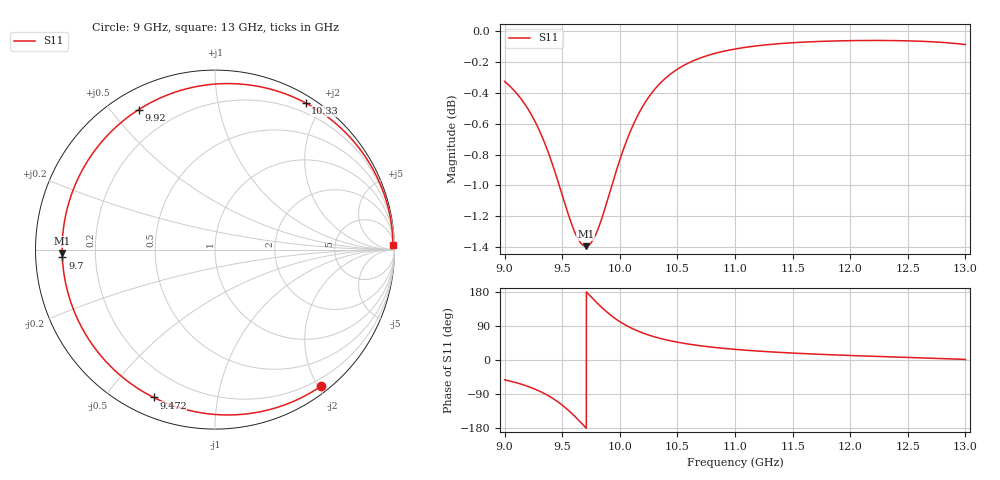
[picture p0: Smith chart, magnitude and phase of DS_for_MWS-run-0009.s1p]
! TOUCHSTONE file generated by CST DESIGN STUDIO
! Date and time: Tue Feb  4 16:05:19 2025
! Project name: C:\Work\MatlabApps\UnitCellOptimizationMatlab\CST\unitcell.cst
! Tree item: Tasks\Sweep1\SPara1\S-Parameters
! Header version: 2024
! Port assignment regex: !\s*Touchstone port\s*([0-9]+)\s*=\s*(CST MWS port|CST DES external port|CST DES block port)\s*(.+)\s* \(\"(.*)\"\)(\s*mode\s*([0-9]+))?.*
! Touchstone port assignment:
! Touchstone port 1 = CST DES external port 1 ("")
# GHz S MA R 50
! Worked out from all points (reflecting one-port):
!   4001 points, 9 GHz to 13 GHz, reference 50 ohm
!   lowest |S11| = -1.4 dB at 9.705 GHz (marker M1), VSWR 12.49, Z = 4 - j0.577 ohm
!   phase of S11 starts at -52 deg and turns -306 deg over the sweep
!   S11 on the Smith chart (normalised r, x): 9 GHz: 0.10, -2.03; 9.472 GHz: 0.08, -0.66; 9.7 GHz: 0.08, -0.03; 9.92 GHz: 0.08, +0.59; 10.33 GHz: 0.08, +1.79; 13 GHz: 25, +66
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9  0.9632 -52.3
9.127  0.9524 -62.2
9.247  0.9375 -74.8
9.373  0.9148 -93.1
9.425  0.9032 -102.7
9.472  0.8918 -112.6
9.5  0.8849 -119.1
9.557  0.8712 -133.7
9.614  0.8598 -150.0
9.658  0.854 -163.6
9.7  0.8517 -177.1
9.705  0.8517 -178.7
9.75  0.8538 166.9
9.798  0.8603 151.9
9.86  0.8733 134.0
9.92  0.8884 118.6
10  0.9084 101.2
10.072  0.9241 88.5
10.16  0.9397 76.0
10.244  0.9512 66.5
10.334  0.9605 58.3
10.5  0.9721 47.0
10.718  0.9808 36.8
11  0.9868 28.0
11.5  0.9915 18.3
12  0.993 11.9
12.5  0.9929 6.8
13  0.9901 1.5
